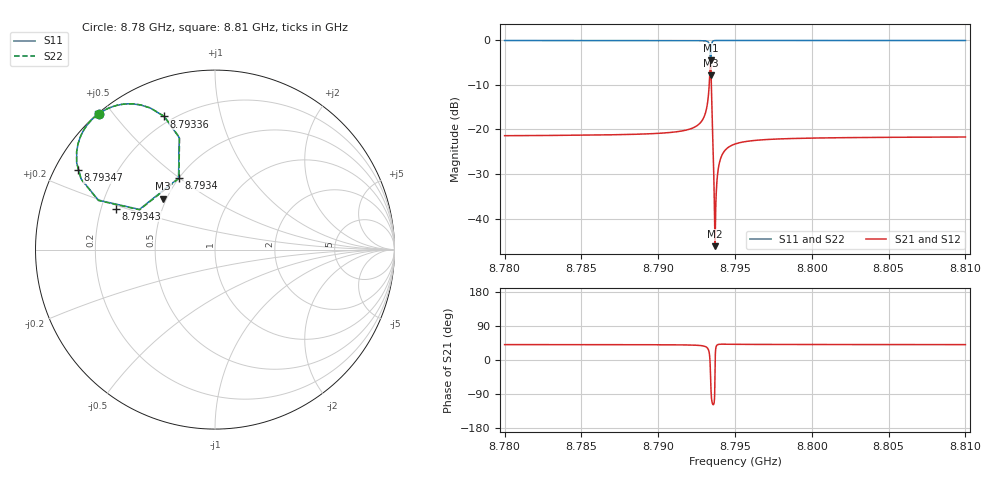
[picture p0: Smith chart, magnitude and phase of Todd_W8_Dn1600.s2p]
! Sonnet Data File
! From: emgraph Version : 16.52
! From Project: transmon_brgOdd
! Data is De-embedded
! Data File Written: 11/12/2017 17:05:33
!< HDATE 11/11/2017 22:57:51
!< MDATE 11/11/2017 22:57:51
!< PARAMS
!< Lj = 15.24
!< Gap = 6.0
!< Width = 10.0
!< Airgap = 6.0
!< Pwidth = 2000.0
!< Dist = 1600.0
!< END PARAMS
# GHZ S MA R 34.67000
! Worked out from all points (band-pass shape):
!   3001 points, 8.78 GHz to 8.81 GHz, reference 34.67 ohm
!   highest |S21| = -4.50 dB at 8.79341 GHz (marker M1); lowest = -46.2 dB at 8.7937 GHz (marker M2)
!   |S21| within 3 dB of the highest: 8.793357 GHz to 8.793441 GHz (84.16 kHz wide, 0.000957 % of centre)
!   lowest |S11| = -7.8 dB at 8.79341 GHz (marker M3), VSWR 2.37, Z = 16.6 + j11.3 ohm
!   |S11| at or under -10 dB: nowhere
!   |S22| runs from -7.9 to 0.0 dB; largest |S21 - S12| = 0
!   S11 on the Smith chart (normalised r, x): 8.78 GHz: 0.00, +0.46; 8.79336 GHz: 0.17, +0.68; 8.7934 GHz: 0.50, +0.50; 8.79343 GHz: 0.26, +0.19; 8.79347 GHz: 0.07, +0.27; 8.81 GHz: 0.00, +0.46
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8.78  0.9964 130.6  0.08517 40.6  0.08517 40.6  0.9964 130.6
!< P1 F=8.78 Eeff=(5.13743391 -5.7017e-5) Z0=(34.6430374 -9.7216e-5) R=0.0 C=0.0
!< P2 F=8.78 Eeff=(5.13743391 -5.7017e-5) Z0=(34.6430374 -9.7216e-5) R=0.0 C=0.0
8.785  0.9963 130.5  0.08627 40.5  0.08627 40.5  0.9963 130.6
8.79  0.9959 130.3  0.09045 40.3  0.09045 40.3  0.9959 130.3
8.79265  0.9928 128.9  0.1145 38.5  0.1145 38.5  0.9927 128.9
8.79301  0.9875 127.3  0.142 36.3  0.142 36.3  0.9875 127.3
8.79321  0.9709 124.1  0.1976 31.3  0.1976 31.3  0.9708 124.0
8.79327  0.9516 121.5  0.2422 27.0  0.2422 27.0  0.9515 121.5
8.79336  0.7941 110.9  0.4317 5.3  0.4317 5.3  0.7936 110.8
8.7934  0.447 117.0  0.5942 -30.8  0.5942 -30.8  0.4448 116.9
8.79341  0.4059 135.5  0.5953 -44.6  0.5953 -44.6  0.4034 135.6
8.79343  0.5975 157.5  0.5003 -71.2  0.5003 -71.2  0.5961 157.7
8.79347  0.8825 149.9  0.264 -101.1  0.264 -101.1  0.8821 149.9
8.79354  0.9739 140.8  0.09615 -116.1  0.09615 -116.1  0.9738 140.8
8.79361  0.99 137.4  0.03544 -117.1  0.03544 -117.1  0.9899 137.4
8.7937  0.9955 135.3  0.0049 -22.8  0.0049 -22.8  0.9954 135.4
8.79379  0.9971 134.2  0.02123 37.0  0.02123 37.0  0.9971 134.2
8.79394  0.9979 133.2  0.03875 41.2  0.03875 41.2  0.9979 133.2
8.79414  0.998 132.5  0.05103 41.7  0.05103 41.7  0.998 132.5
8.795  0.9975 131.5  0.06865 41.4  0.06865 41.4  0.9975 131.5
8.8  0.9968 130.8  0.08004 40.8  0.08004 40.8  0.9968 130.8
8.805  0.9967 130.7  0.08165 40.7  0.08165 40.7  0.9967 130.7
8.81  0.9966 130.6  0.08232 40.6  0.08232 40.6  0.9966 130.7
